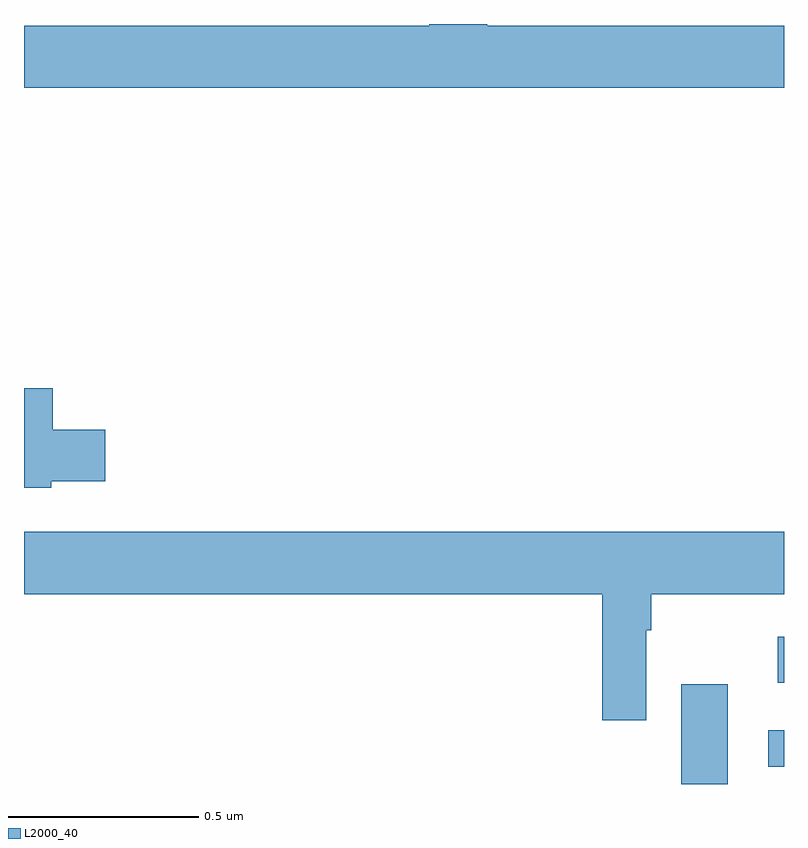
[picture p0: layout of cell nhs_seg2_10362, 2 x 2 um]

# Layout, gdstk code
import gdstk
lib = gdstk.Library(unit=1e-6, precision=1e-09)
def R(c, l, rs):  # rectangles x0, y0, x1, y1
    for r in rs: c.add(gdstk.rectangle(r[:2], r[2:], *l))
def P(c, l, *ps):  # polygons
    for p in ps: c.add(gdstk.Polygon(p, *l))
L2000_40 = (2000, 40)

nhs_seg2_10362 = lib.new_cell('nhs_seg2_10362')
R(nhs_seg2_10362, L2000_40, [(241.73,649.8,241.852,650.062), (241.959,649.845,242,649.941), (241.983,650.066,242,650.188)])
P(nhs_seg2_10362, L2000_40, [(242,651.796),(241.219,651.796),(241.219,651.8),(241.067,651.8),(241.067,651.796),(240,651.796),(240,651.632),(242,651.632)],
  [(240.072,650.597),(240.214,650.597),(240.214,650.732),(240.076,650.732),(240.076,650.842),(240,650.842),(240,650.579),(240.072,650.579)],
  [(241.638,650.204),(241.651,650.204),(241.651,650.3),(242,650.3),(242,650.464),(240,650.464),(240,650.3),(241.522,650.3),(241.522,649.968),(241.638,649.968)])

lib.write_gds('nhs_seg2_10362.gds')
